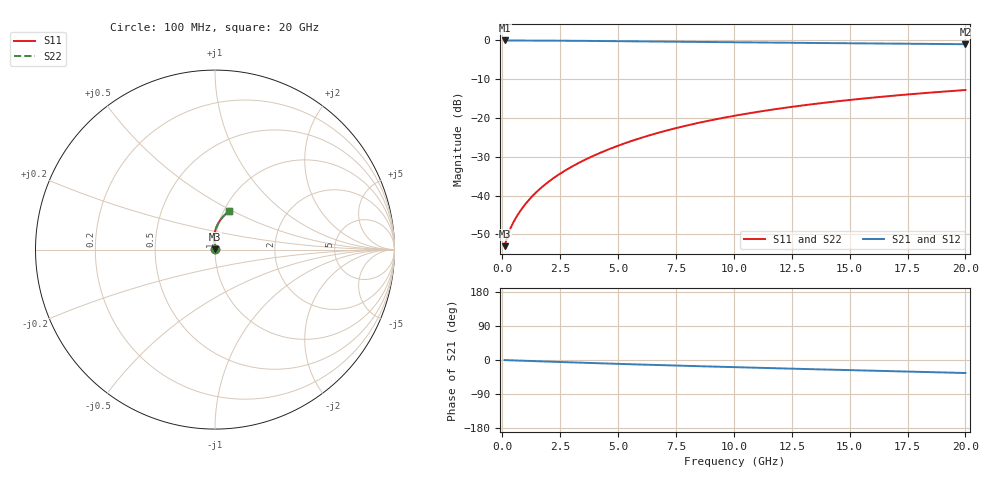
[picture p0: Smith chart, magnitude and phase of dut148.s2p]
! Touchstone file exported from HFSS 2024.1.0
!  File:  C:/UserFiles/LocalFiles/RDL_TSV_Batchsim/temp_RDL_top_148_1778685035.aedt
!  Generated:  11:12:31 PM May 13, 2026
!  Design:  RDL_top
!  Project:  temp_RDL_top_148_1778685035
!  Setup:  Setup1
!  Solution:  Sweep
! Variables:
!  dtsv = 10.80580581um
!  hbump = 3um
!  htsv = 56.86um
!  ldown = 100um
!  lrdl = 562.47um
!  p = 40
!  p1 = 43.53um
!  rhole = 1um
!  t = 450um
!  tdown = 3.915915916um
!  trdl = 4.08um
!  wdown = 15.38538539um
!  wrdl = 28.12um
# GHz S MA R 50.000000
! Terminal data exported
! Port[1] = Box2_T1
! Port[2] = Box2_T2
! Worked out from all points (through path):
!   200 points, 100 MHz to 20 GHz, reference 50 ohm
!   highest |S21| = -0.02 dB at 100 MHz (marker M1); lowest = -1.0 dB at 20 GHz (marker M2)
!   group delay of S21, straight-line fit = 4.68 ps
!   lowest |S11| = -53.1 dB at 100 MHz (marker M3), VSWR 1.00, Z = 50.2 + j0.0999 ohm
!   |S11| at or under -10 dB: start of sweep to end of sweep
!   |S22| runs from -53.1 to -12.8 dB; largest |S21 - S12| = 2e-15
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0.1  0.002226 26.6  0.998 -0.2  0.998 -0.2  0.002226 26.6
! Gamma 0 0 0 0
! Port Impedance 50 0 50 0
0.2  0.002853 40.2  0.9978 -0.5  0.9978 -0.5  0.002853 40.2
0.3  0.00347 47.9  0.9975 -0.7  0.9975 -0.7  0.00347 47.9
0.4  0.004058 53.6  0.9973 -0.9  0.9973 -0.9  0.004058 53.6
0.5  0.004641 58.2  0.9972 -1.1  0.9972 -1.1  0.004641 58.2
0.8  0.006473 68.5  0.9966 -1.7  0.9966 -1.7  0.006473 68.4
1  0.007777 73.2  0.9963 -2.2  0.9963 -2.2  0.007777 73.2
1.2  0.009139 76.9  0.9958 -2.6  0.9958 -2.6  0.009138 76.9
1.7  0.01276 83.3  0.9944 -3.6  0.9944 -3.6  0.01276 83.3
2.2  0.01668 87.5  0.9926 -4.7  0.9926 -4.7  0.01667 87.4
2.8  0.02176 90.8  0.99 -5.9  0.99 -5.9  0.02175 90.8
3.5  0.02822 93.3  0.9864 -7.3  0.9864 -7.3  0.0282 93.2
4.2  0.03524 94.7  0.9823 -8.7  0.9823 -8.7  0.03521 94.6
5  0.04388 95.3  0.9774 -10.2  0.9774 -10.2  0.04384 95.3
5.9  0.05426 95.2  0.9716 -11.9  0.9716 -11.9  0.05421 95.2
6.8  0.0652 94.5  0.9657 -13.5  0.9657 -13.5  0.06513 94.4
8.4  0.08554 92.2  0.9554 -16.2  0.9554 -16.2  0.08543 92.2
10.1  0.1077 89.1  0.945 -19.0  0.945 -19.0  0.1076 89.1
11.7  0.1287 85.9  0.9358 -21.6  0.9358 -21.6  0.1285 85.9
13.4  0.1506 82.5  0.9265 -24.3  0.9265 -24.3  0.1504 82.4
16.7  0.1914 75.9  0.9093 -29.4  0.9093 -29.4  0.1912 75.8
20  0.2293 69.6  0.8931 -34.3  0.8931 -34.3  0.229 69.6
